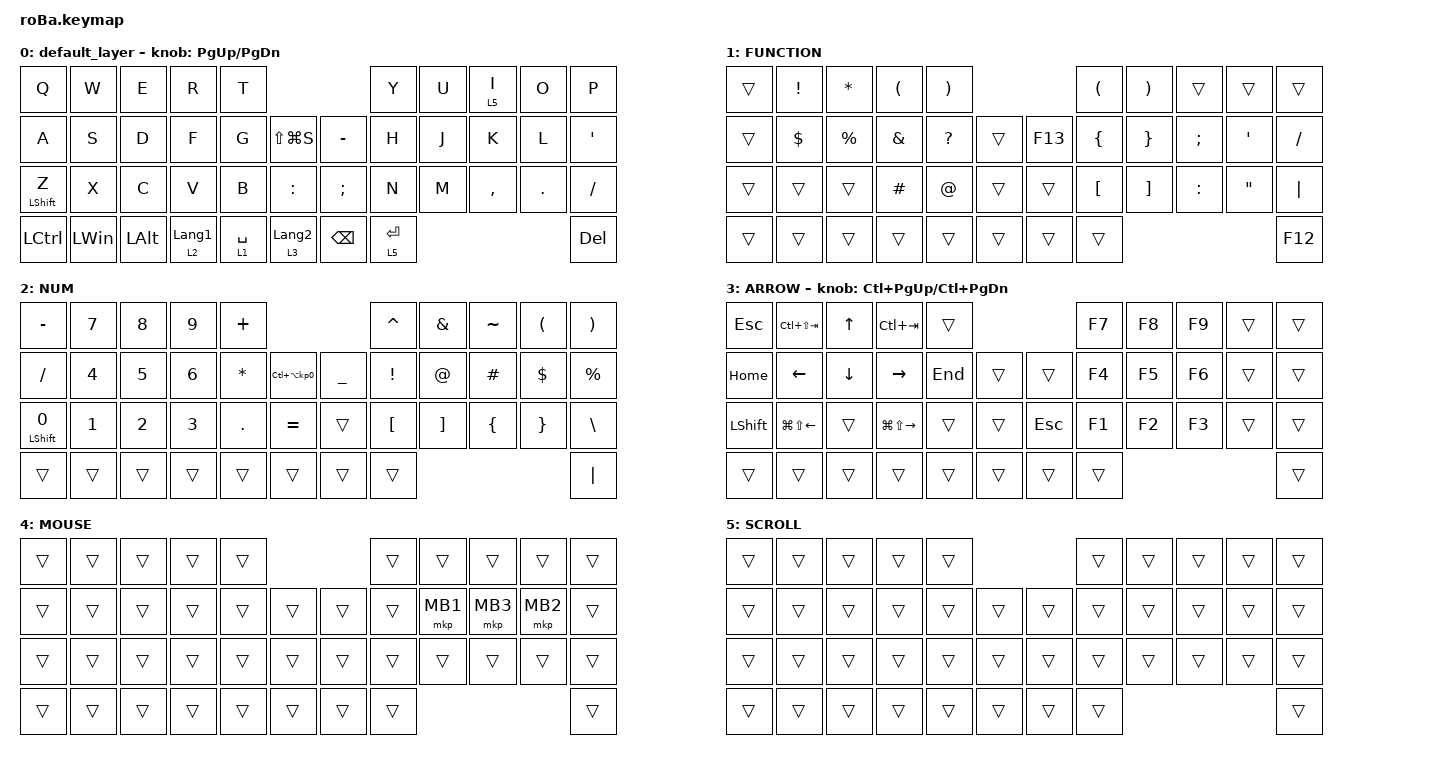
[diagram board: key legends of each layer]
#include <behaviors.dtsi>
#include <dt-bindings/zmk/keys.h>
#include <dt-bindings/zmk/pointing.h>

&mt {
    flavor = "balanced";
    quick-tap-ms = <0>;
};

&trackball {
    automouse-layer = <4>;
    scroll-layers = <5>;

    // arrows {
    //     layers = <3>;
    //     bindings =
    //         <&kp RIGHT_ARROW>,
    //         <&kp LEFT_ARROW>,
    //         <&kp UP_ARROW>,
    //         <&kp DOWN_ARROW>;
    //     tick = <10>;
    //     wait-ms = <5>;
    //     tap-ms = <5>;
    // };
};

/ {
    combos {
        compatible = "zmk,combos";

        tab {
            bindings = <&kp TAB>;
            key-positions = <11 12>;
        };

        shift_tab {
            bindings = <&kp LS(TAB)>;
            key-positions = <12 13>;
        };

        muhennkann {
            bindings = <&to_layer_0 INT_MUHENKAN>;
            key-positions = <11 10>;
        };

        double_quotation {
            bindings = <&kp DOUBLE_QUOTES>;
            key-positions = <20 21>;
        };

        eq {
            bindings = <&kp EQUAL>;
            key-positions = <24 25>;
        };
    };

    macros {
        to_layer_0: to_layer_0 {
            compatible = "zmk,behavior-macro-one-param";
            #binding-cells = <1>;
            bindings = <&to 0 &macro_param_1to1 &kp MACRO_PLACEHOLDER>;
            label = "TO_LAYER_0";
        };
    };

    behaviors {
        lt_to_layer_0: lt_to_layer_0 {
            compatible = "zmk,behavior-hold-tap";
            label = "LAYER_TAP_TO_0";
            bindings = <&mo>, <&to_layer_0>;

            #binding-cells = <2>;
            tapping-term-ms = <200>;
        };
    };

    keymap {
        compatible = "zmk,keymap";

        default_layer {
            bindings = <
&kp Q             &kp W         &kp E         &kp R             &kp T                                             &kp Y        &kp U  &lt 5 I    &kp O    &kp P
&kp A             &kp S         &kp D         &kp F             &kp G        &kp LS(LG(S))         &kp MINUS      &kp H        &kp J  &kp K      &kp L    &kp SQT
&mt LEFT_SHIFT Z  &kp X         &kp C         &kp V             &kp B        &kp COLON             &kp SEMICOLON  &kp N        &kp M  &kp COMMA  &kp DOT  &kp SLASH
&kp LCTRL         &kp LEFT_WIN  &kp LEFT_ALT  &lt 2 LANGUAGE_1  &lt 1 SPACE  &lt 3 LANGUAGE_2      &kp BACKSPACE  &lt 5 ENTER                             &kp DEL
            >;

            sensor-bindings = <&inc_dec_kp PG_UP PAGE_DOWN>;
        };

        FUNCTION {
            bindings = <
&trans  &kp EXCLAMATION  &kp ASTERISK  &kp LEFT_PARENTHESIS  &kp RIGHT_PARENTHESIS                       &kp LEFT_PARENTHESIS  &kp RIGHT_PARENTHESIS  &trans         &trans             &trans
&trans  &kp DOLLAR       &kp PERCENT   &kp AMPERSAND         &kp QUESTION           &trans      &kp F13  &kp LEFT_BRACE        &kp RIGHT_BRACE        &kp SEMICOLON  &kp SINGLE_QUOTE   &kp SLASH
&trans  &trans           &trans        &kp HASH              &kp AT                 &trans      &trans   &kp LEFT_BRACKET      &kp RIGHT_BRACKET      &kp COLON      &kp DOUBLE_QUOTES  &kp PIPE
&trans  &trans           &trans        &trans                &trans                 &trans      &trans   &trans                                                                         &kp F12
            >;
        };

        NUM {
            bindings = <
&kp MINUS                &kp NUMBER_7  &kp NUMBER_8  &kp NUMBER_9  &kp PLUS                                                   &kp CARET         &kp AMPERSAND      &kp TILDE       &kp LEFT_PARENTHESIS  &kp RIGHT_PARENTHESIS
&kp SLASH                &kp NUMBER_4  &kp N5        &kp NUMBER_6  &kp ASTERISK  &kp LC(LA(KP_NUMBER_0))      &kp UNDERSCORE  &kp EXCLAMATION   &kp AT_SIGN        &kp HASH        &kp DOLLAR            &kp PERCENT
&mt LEFT_SHIFT NUMBER_0  &kp NUMBER_1  &kp NUMBER_2  &kp NUMBER_3  &kp PERIOD    &kp EQUAL                    &trans          &kp LEFT_BRACKET  &kp RIGHT_BRACKET  &kp LEFT_BRACE  &kp RIGHT_BRACE       &kp BACKSLASH
&trans                   &trans        &trans        &trans        &trans        &trans                       &trans          &trans                                                                     &kp PIPE
            >;
        };

        ARROW {
            bindings = <
&kp ESCAPE      &kp LC(LS(TAB))         &kp UP_ARROW    &kp LC(TAB)              &trans                        &kp F7  &kp F8  &kp F9  &trans  &trans
&kp HOME        &kp LEFT_ARROW          &kp DOWN_ARROW  &kp RIGHT_ARROW          &kp END  &trans      &trans   &kp F4  &kp F5  &kp F6  &trans  &trans
&kp LEFT_SHIFT  &kp LG(LS(LEFT_ARROW))  &trans          &kp LG(LS(RIGHT_ARROW))  &trans   &trans      &kp ESC  &kp F1  &kp F2  &kp F3  &trans  &trans
&trans          &trans                  &trans          &trans                   &trans   &trans      &trans   &trans                          &trans
            >;

            sensor-bindings = <&inc_dec_kp LC(PAGE_UP) LC(PAGE_DOWN)>;
        };

        MOUSE {
            bindings = <
&trans  &trans  &trans  &trans  &trans                      &trans  &trans    &trans    &trans    &trans
&trans  &trans  &trans  &trans  &trans  &trans      &trans  &trans  &mkp MB1  &mkp MB3  &mkp MB2  &trans
&trans  &trans  &trans  &trans  &trans  &trans      &trans  &trans  &trans    &trans    &trans    &trans
&trans  &trans  &trans  &trans  &trans  &trans      &trans  &trans                                &trans
            >;
        };

        SCROLL {
            bindings = <
&trans  &trans  &trans  &trans  &trans                      &trans  &trans  &trans  &trans  &trans
&trans  &trans  &trans  &trans  &trans  &trans      &trans  &trans  &trans  &trans  &trans  &trans
&trans  &trans  &trans  &trans  &trans  &trans      &trans  &trans  &trans  &trans  &trans  &trans
&trans  &trans  &trans  &trans  &trans  &trans      &trans  &trans                          &trans
            >;
        };
    };
};
